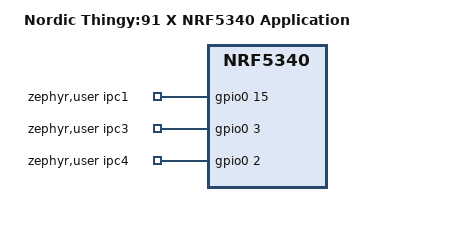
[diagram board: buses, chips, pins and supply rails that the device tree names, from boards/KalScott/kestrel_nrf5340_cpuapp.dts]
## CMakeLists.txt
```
cmake_minimum_required(VERSION 3.20.0)
find_package(Zephyr REQUIRED HINTS $ENV{ZEPHYR_BASE})


project(9151_testing)

target_sources(app PRIVATE src/main.c)
target_sources(app PRIVATE src/short_test.c)
#target_sources(app PRIVATE src/spi_thread.c)
# target_sources(app PRIVATE src/lte_helper.c)
# target_sources(app PRIVATE src/fota.c)
# target_sources(app PRIVATE src/sim_test.c)
# target_sources(app PRIVATE src/flash_test.c)
```

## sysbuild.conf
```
SB_CONFIG_BOOTLOADER_MCUBOOT=n

SB_CONFIG_KESTREL_NO_PREDEFINED_LAYOUT=y
```

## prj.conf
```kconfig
# CONFIG_BOOTLOADER_MCUBOOT=y


# # System
# CONFIG_REBOOT=y

# CONFIG_SERIAL=y
# CONFIG_GPIO=y
# CONFIG_I2C_GPIO=y

# # Peripherals
# CONFIG_DK_LIBRARY=y
# CONFIG_I2C=y


# # Newlib
# CONFIG_NEWLIB_LIBC=y
# CONFIG_FPU=y
# CONFIG_NEWLIB_LIBC_FLOAT_PRINTF=y

# # Networking
# CONFIG_NETWORKING=y
# CONFIG_NET_NATIVE=n
# CONFIG_NET_SOCKETS_OFFLOAD=y
# CONFIG_NET_SOCKETS=y
# CONFIG_POSIX_API=y

# # Memory
# CONFIG_THREAD_ANALYZER=y


# # Modem library
# CONFIG_NRF_MODEM_LIB=y
# CONFIG_MODEM_KEY_MGMT=y
# CONFIG_MODEM_INFO=y
# CONFIG_MODEM_INFO_ADD_NETWORK=y
# CONFIG_MODEM_INFO_ADD_SIM=y
# CONFIG_MODEM_INFO_ADD_SIM_IMSI=y
# CONFIG_MODEM_INFO_ADD_SIM_ICCID=y
# CONFIG_MODEM_INFO_ADD_DEVICE=y
# CONFIG_MODEM_INFO_ADD_DATE_TIME=n

# # LTE link control
# CONFIG_LTE_LINK_CONTROL=y
# CONFIG_LTE_NETWORK_MODE_LTE_M_NBIOT_GPS=y
# CONFIG_LTE_LC_EDRX_MODULE=n
# CONFIG_LTE_LC_PSM_MODULE=y
# CONFIG_LTE_LINK_CONTROL=y
# CONFIG_LTE_NETWORK_MODE_DEFAULT=y
# CONFIG_LTE_LC_MODEM_SLEEP_NOTIFICATIONS=n
# CONFIG_LTE_LC_TAU_PRE_WARNING_NOTIFICATIONS=n
# CONFIG_LTE_LC_TAU_PRE_WARNING_THRESHOLD_MS=10240
# CONFIG_LTE_LC_MODEM_SLEEP_NOTIFICATIONS_THRESHOLD_MS=10240
# CONFIG_LTE_NEIGHBOR_CELLS_MAX=17
# CONFIG_LTE_LC_CONN_EVAL_MODULE=y
# CONFIG_LTE_LC_EDRX_MODULE=y
# CONFIG_LTE_LC_NEIGHBOR_CELL_MEAS_MODULE=y
# CONFIG_LTE_LC_PERIODIC_SEARCH_MODULE=y
# CONFIG_LTE_LC_PSM_MODULE=y
# CONFIG_LTE_LC_RAI_MODULE=y
# CONFIG_LTE_LC_MODEM_SLEEP_MODULE=y
# CONFIG_LTE_LC_TAU_PRE_WARNING_MODULE=y

# # AT commands interface
# CONFIG_AT_HOST_LIBRARY=n
# CONFIG_UART_INTERRUPT_DRIVEN=y
# CONFIG_SHELL_WILDCARD=y
# # MQTT
# # Enable and configure the MQTT library
# CONFIG_MQTT_LIB=y
# CONFIG_MQTT_CLEAN_SESSION=y

# # Core settings API
# CONFIG_SETTINGS=y

# # Store in a flash circular buffer
# CONFIG_FCB=y
# CONFIG_SETTINGS_FCB=y
# CONFIG_SETTINGS=y

# # Flash and mapping
# CONFIG_FLASH=y
# CONFIG_FLASH_MAP=y


# # Shell & logging on your existing console
# CONFIG_DK_LIBRARY=y
# CONFIG_GPIO=y
# CONFIG_SENSOR=y
# CONFIG_NRF_MODEM_LIB=y
# CONFIG_NET_PKT_RX_COUNT=4
# CONFIG_NET_BUF_RX_COUNT=8
# CONFIG_NET_BUF_DATA_SIZE=256

# CONFIG_MAIN_STACK_SIZE=10000
# #CONFIG_LOG_BUFFER_SIZE=6000
# CONFIG_HEAP_MEM_POOL_SIZE=40000  
# CONFIG_SYSTEM_WORKQUEUE_STACK_SIZE=8096
# CONFIG_MBEDTLS_HEAP_SIZE=1500

# #TLS
# CONFIG_NETWORKING=y
# CONFIG_NET_NATIVE=n
# CONFIG_NET_SOCKETS_OFFLOAD=y
# CONFIG_NET_SOCKETS=y
# CONFIG_MQTT_LIB_TLS=y
# CONFIG_MBEDTLS=y
# CONFIG_MBEDTLS_ENABLE_HEAP=y
# CONFIG_MODEM_KEY_MGMT=y

# #crypto
# # Enable PSA Crypto core
# CONFIG_NRF_SECURITY=y
# CONFIG_BUILD_WITH_TFM=y
# CONFIG_MBEDTLS_PSA_CRYPTO_C=y
# CONFIG_PSA_WANT_GENERATE_RANDOM=y
# CONFIG_PSA_WANT_KEY_TYPE_AES=y
# CONFIG_PSA_WANT_ALG_GCM=y
# CONFIG_TFM_PROFILE_TYPE_NOT_SET=y
# CONFIG_PSA_CRYPTO_DRIVER_CC3XX=y
# CONFIG_PM_PARTITION_SIZE_TFM_SRAM=0x10000
# CONFIG_BOOTLOADER_MCUBOOT=y
# CONFIG_MBEDTLS_PSA_CRYPTO_STORAGE_C=y
# CONFIG_TFM_ITS_ENCRYPTED=y
# CONFIG_PSA_WANT_ALG_PBKDF2_HMAC=y
# CONFIG_PSA_WANT_ALG_SHA3_256=y
# CONFIG_PSA_WANT_KEY_TYPE_PASSWORD=y
# CONFIG_PSA_WANT_ALG_HMAC=y

# # Image manager
# CONFIG_IMG_MANAGER=y
# CONFIG_FLASH=y
# CONFIG_FLASH_MAP=y
# CONFIG_STREAM_FLASH=y
# CONFIG_IMG_ERASE_PROGRESSIVELY=y
# CONFIG_DOWNLOAD_CLIENT=y
# CONFIG_DOWNLOAD_CLIENT_STACK_SIZE=4096
# CONFIG_DOWNLOAD_CLIENT_BUF_SIZE=2048
# CONFIG_DOWNLOAD_CLIENT_MAX_HOSTNAME_SIZE=128
# CONFIG_DOWNLOAD_CLIENT_MAX_FILENAME_SIZE=128
# CONFIG_DOWNLOAD_CLIENT_LOG_LEVEL_DBG=y
# CONFIG_DFU_TARGET=y
# CONFIG_DFU_TARGET_MCUBOOT=y
# CONFIG_MODEM_KEY_MGMT=y

# CONFIG_UART_INTERRUPT_DRIVEN=y 

# CONFIG_NEWLIB_LIBC=y
# CONFIG_DATE_SHELL=n
# CONFIG_DEVICE_SHELL=y
# CONFIG_DEVMEM_SHELL=y
# CONFIG_KERNEL_SHELL=y
# CONFIG_I2C_SHELL=y
# CONFIG_SHELL_BACKEND_SERIAL_RX_RING_BUFFER_SIZE=528
# CONFIG_SPI=y
# CONFIG_SPI_SHELL=y
# CONFIG_SENSOR_SHELL=y
# CONFIG_AT_SHELL=y
# CONFIG_FLASH_SHELL=y
# CONFIG_GPIO_SHELL=y

# CONFIG_KESTREL_SPI_BUS_SHARE=y
# CONFIG_SPI_BUS_SHARE_SHELL=y
# CONFIG_SPI_BUS_SHARE_DETERM=y

# CONFIG_USE_SEGGER_RTT=y


# CONFIG_LOG=y
# CONFIG_LOG_PRINTK=y
# CONFIG_LOG_CMDS=y
# CONFIG_LOG_DEFAULT_LEVEL=3
# CONFIG_UART_CONSOLE=n 
# CONFIG_LOG_BACKEND_UART=n
# # Enable log colors
# CONFIG_LOG_BACKEND_SHOW_COLOR=y

# CONFIG_LOG_BUFFER_SIZE=4096        
# CONFIG_LOG_PROCESS_THREAD=y
# CONFIG_LOG_PROCESS_THREAD_STACK_SIZE=2048

# CONFIG_SHELL_STACK_SIZE=6096
# CONFIG_SHELL=y
# CONFIG_SHELL_CMDS=y
# CONFIG_SHELL_DEVICE_HELPERS=n
# CONFIG_SHELL=y
# CONFIG_SHELL_BACKEND_RTT=y
# CONFIG_SHELL_BACKEND_SERIAL=n
# CONFIG_SHELL_LOG_BACKEND=y   
# CONFIG_UART_INTERRUPT_DRIVEN=y 

# CONFIG_PM_DEVICE_SHELL=y
# CONFIG_PM_DEVICE=y
# CONFIG_PM_DEVICE_RUNTIME=y



CONFIG_LOG=y
CONFIG_LOG_PRINTK=y
CONFIG_LOG_CMDS=y
CONFIG_LOG_DEFAULT_LEVEL=3
CONFIG_LOG_BACKEND_SHOW_COLOR=y
CONFIG_SERIAL=y
CONFIG_GPIO=y
CONFIG_MAIN_STACK_SIZE=10048
CONFIG_LOG_BUFFER_SIZE=4096        
CONFIG_LOG_PROCESS_THREAD=y
CONFIG_LOG_PROCESS_THREAD_STACK_SIZE=2048
CONFIG_ISR_STACK_SIZE=1028
CONFIG_HEAP_MEM_POOL_SIZE=20000
CONFIG_SHELL_STACK_SIZE=8096
CONFIG_SHELL_PRINTF_BUFF_SIZE=2012
CONFIG_SHELL_CMD_BUFF_SIZE=2012
CONFIG_SHELL=y
CONFIG_SHELL_CMDS=y
CONFIG_SHELL_DEVICE_HELPERS=n
CONFIG_SHELL_ECHO_STATUS=n
CONFIG_SHELL=y
CONFIG_SHELL_BACKEND_SERIAL=y   # use the existing console UART/USB-CDC
CONFIG_SHELL_LOG_BACKEND=y      # pipe LOG_* into the shell prompt
CONFIG_UART_INTERRUPT_DRIVEN=y  # required by the shell’s serial backend
CONFIG_SHELL_PROMPT_UART=""
CONFIG_NEWLIB_LIBC=y
CONFIG_DATE_SHELL=n
CONFIG_SHELL_WILDCARD=y

CONFIG_KESTREL_SPI_BUS_SHARE=n
```

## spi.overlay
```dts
&pinctrl {
    spi2_default: spi2_default {
        group1 {
            psels = <NRF_PSEL(SPIM_SCK, 0, 27)>,
                    <NRF_PSEL(SPIM_MOSI, 0, 26)>,
                    <NRF_PSEL(SPIM_MISO, 0, 28)>;
        };
    };
};

&i2c2 {
    status = "disabled";
};

&uart2 {
    status = "disabled";
};

&spi2 {
    compatible = "nordic,nrf-spim";
    status = "okay";
    pinctrl-0 = <&spi2_default>;
    pinctrl-names = "default";
    cs-gpios = <&gpio0 16 GPIO_ACTIVE_LOW>;
    label = "SPI2_MCU_LINK";
};
```

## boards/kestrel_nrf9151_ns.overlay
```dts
&regulators {
    status = "disabled";
};

&power {
    status = "disabled";
};


&i2c2 {
	status = "disabled";
	clock-frequency = <I2C_BITRATE_STANDARD>;
    zephyr,concat-buf-size = <64>;
    zephyr,flash-buf-max-size = <64>;
};

&pmic_main {
	status = "disabled";

	npm1300_gpios {
		status = "disabled";
	};
	regulators {
		status = "disabled";
	};
	charger {
		status = "disabled";
	};
};

&flash_ext {
    status = "disabled";
};

&spi3 {
	status = "disabled";
};

&bmp {
	status = "disabled";
};

&mag0 {
	status = "disabled";
};

&imu {
	status = "disabled";
};

&uart1 {
	status = "disabled";
};
```

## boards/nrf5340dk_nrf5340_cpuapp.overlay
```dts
/ {
	chosen {
		zephyr,console = &uart2;
		zephyr,shell-uart = &uart2;
		zephyr,uart-mcumgr = &uart2;	
	};


	zephyr,user {
		ref-gpios = <&gpio0 2 GPIO_ACTIVE_HIGH>;
		output-high;
		//gpio-hog;

	};
};

&uart0 {
	status = "okay";
	current-speed = <115200>;

	pinctrl-0 = <&uart0_default>;
	pinctrl-1 = <&uart0_sleep>;
	pinctrl-names = "default", "sleep";
};


&uart2 {
    status = "okay";
    current-speed = <115200>;
    pinctrl-0 = <&uart2_default>;
	pinctrl-1 = <&uart2_sleep>;
    pinctrl-names = "default", "sleep";
	compatible = "nordic,nrf-uarte";
};


&pinctrl {
	uart0_default: uart0_default {
		group1 {
			psels = <NRF_PSEL(UART_RX, 0, 25)>, <NRF_PSEL(UART_TX, 0, 26)>;
			 
		};

		group2 {
			psels = <NRF_PSEL(UART_RX, 0, 25)>;
			bias-pull-up;  
		};
	};

	uart0_sleep: uart0_sleep {
		group1 {
			psels = <NRF_PSEL(UART_TX, 0, 26)>,
			        <NRF_PSEL(UART_RX, 0, 25)>;
			low-power-enable;
		};
	};

	uart2_default: uart2_default {
		group1 {
			psels = <NRF_PSEL(UART_TX, 0, 21)>, <NRF_PSEL(UART_RX, 0, 22)>;                     
		};

        group2 {
            psels = <NRF_PSEL(UART_RX, 0, 22)>; 
			bias-pull-up;   
        };
	};
	uart2_sleep: uart2_sleep {
		group1 {
			psels = <NRF_PSEL(UART_TX, 0, 21)>,  
			        <NRF_PSEL(UART_RX, 0, 22)>; 
			low-power-enable;
		};
	};

};
```

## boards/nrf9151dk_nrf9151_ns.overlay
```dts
/ {
	chosen {
		zephyr,console = &uart1;
		zephyr,shell-uart = &uart1;
		zephyr,uart-mcumgr = &uart1;	
	};
};


&gd25wb256 {
	status = "disabled";
};

&uart0 {
	status = "okay";
	current-speed = <115200>;

	pinctrl-0 = <&uart0_default>;
	pinctrl-1 = <&uart0_sleep>;
	pinctrl-names = "default", "sleep";
};

&spi3 {
	status = "disabled";
};
&uart1 {
	status = "okay";
	current-speed = <115200>;
	pinctrl-0 = <&uart1_default>;
	pinctrl-1 = <&uart1_sleep>;
	pinctrl-names = "default", "sleep";
	compatible = "nordic,nrf-uarte";
};


&pinctrl {
	uart0_default: uart0_default {
		group1 {
			psels = <NRF_PSEL(UART_RX, 0, 25)>, <NRF_PSEL(UART_TX, 0, 24)>;
			 
		};

		group2 {
			psels = <NRF_PSEL(UART_RX, 0, 25)>;
			bias-pull-up;  
		};
	};

	uart0_sleep: uart0_sleep {
		group1 {
			psels = <NRF_PSEL(UART_TX, 0, 24)>,
			        <NRF_PSEL(UART_RX, 0, 25)>;
			low-power-enable;
		};
	};


	uart1_default: uart1_default {
		group1 {
			psels = <NRF_PSEL(UART_RX, 0, 23)>, <NRF_PSEL(UART_TX, 0, 22)>; 
			                  
		};

		group2 {
			psels = <NRF_PSEL(UART_RX, 0, 23)>;   
			bias-pull-up;   
		};
	};
	uart1_sleep: uart1_sleep {
		group1 {
			psels = <NRF_PSEL(UART_TX, 0, 22)>,  
			        <NRF_PSEL(UART_RX, 0, 23)>; 
			low-power-enable;
		};
	};
};
```

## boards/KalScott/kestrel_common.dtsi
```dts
/*
 * Copyright (c) 2024 Nordic Semiconductor
 * SPDX-License-Identifier: LicenseRef-Nordic-5-Clause
 */

#include <dt-bindings/regulator/npm1300.h>
#include <zephyr/dt-bindings/sensor/icm42688.h>



&i2c2 {
	compatible = "nordic,nrf-twim";
	status = "disabled";
	clock-frequency = <I2C_BITRATE_STANDARD>;
	
	pinctrl-0 = <&i2c2_default>;
	pinctrl-1 = <&i2c2_sleep>;
	pinctrl-names = "default", "sleep";

	bmp: bmp390@76 {
        compatible = "bosch,bmp390";
        reg = <0x76>;
        status = "disabled";
        int-gpios = <&gpio0 5 GPIO_ACTIVE_HIGH>;
        odr = "50";      
        osr-press = <4>;     
        osr-temp  = <1>;    
        iir-filter = <7>;   
    };

	mag0: iis2mdc@1e {
        compatible = "st,iis2mdc";
        reg = <0x1e>;
        status = "disabled";
        drdy-gpios = <&gpio0 4 GPIO_ACTIVE_HIGH>;

    };

	pmic_main: npm1300@6b {
		compatible = "nordic,npm1300";
		status = "disabled";
		pmic-int-pin = <14>;
		reg = <0x6b>;

		
		gpios_pmic: npm1300_gpios {
			compatible = "nordic,npm1300-gpio";
			status = "disabled";
			gpio-controller;
			#gpio-cells = <2>;
			ngpios = <5>;
			npm13_button: GPIO0 {
				gpio-hog;
				gpios = <0 GPIO_ACTIVE_HIGH>;
			};
		
			power_switch: GPIO2 {
				gpio-hog;
				gpios = <2 GPIO_ACTIVE_HIGH>;
			};
			
		};

		regulators {
			compatible = "nordic,npm1300-regulator";
			status = "disabled";
			reg_3v3: BUCK2 {
				regulator-min-microvolt = <3300000>;
				regulator-max-microvolt = <3300000>;
				enable-gpios = <&gpios_pmic 2 GPIO_ACTIVE_HIGH>;
			};
			ldsw_nPM6001_en: LDO1 {
				regulator-initial-mode = <NPM1300_LDSW_MODE_LDSW>;
				regulator-allowed-modes = <NPM1300_LDSW_MODE_LDSW>;
				regulator-boot-on;
			};
			ldsw_sensors: LDO2 {
				regulator-initial-mode = <NPM1300_LDSW_MODE_LDSW>;
				regulator-allowed-modes = <NPM1300_LDSW_MODE_LDSW>;
				regulator-boot-on;
			};
		};

		npm1300_charger: charger {
			compatible = "nordic,npm1300-charger";
			status = "disabled";
			vbus-limit-microamp = <500000>;
			term-microvolt = <4200000>;
			current-microamp = <675000>; 
			dischg-limit-microamp = <1000000>; 
			thermistor-cold-millidegrees = <0>;
			thermistor-cool-millidegrees = <0>;
			thermistor-warm-millidegrees = <45000>;
			thermistor-hot-millidegrees = <45000>;
			thermistor-ohms = <10000>;
			thermistor-beta = <3435>;
			charging-enable;
		};

		
	};

	


};
```

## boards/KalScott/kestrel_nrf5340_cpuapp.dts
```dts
/*
 * Copyright (c) 2024 Nordic Semiconductor
 * SPDX-License-Identifier: LicenseRef-Nordic-5-Clause
 */

/dts-v1/;
#include <nordic/nrf5340_cpuapp_qkaa.dtsi>
#include "kestrel_nrf5340_cpuapp_common.dts"

/ {
	model = "Nordic Thingy:91 X NRF5340 Application";
	compatible = "nordic,kestrel-nrf5340-cpuapp";
	
	chosen {
		zephyr,sram = &sram0_image;
		zephyr,flash = &flash0;
		zephyr,code-partition = &slot0_partition;
		zephyr,sram-secure-partition = &sram0_s;
		zephyr,sram-non-secure-partition = &sram0_ns;
		zephyr,bt-hci = &bt_hci_ipc0;
	};


	zephyr,user {
		ipc1-gpios = <&gpio0 15 0>;
		ipc3-gpios = <&gpio0 3 0>;
		ipc4-gpios = <&gpio0 2 0>;
	};


};
```

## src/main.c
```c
#include <zephyr/kernel.h>
#include <zephyr/logging/log.h>
#include "lte_helper.h"

LOG_MODULE_REGISTER(main);

int main(void)
{
        printk("nRF9151 test running\n");
        //modem_configure();
        while (1) {
        // LOG_INF("6");
        // //printk("running\n");
        // k_msleep(1000);
        // LOG_INF("7");
        // k_msleep(1000);
        // LOG_INF("8");
        // k_msleep(1000);
        // LOG_INF("9");
        // k_msleep(1000);
        // LOG_INF("10");
        k_msleep(1000);
        }
        return 0;
}
```

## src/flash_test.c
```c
/*
 * Flash Test Module for mcuboot_secondary partition
 *
 * This module provides functionality to test writing to and reading from
 * the mcuboot_secondary partition in external flash.
 */

#include "flash_test.h"
#include <zephyr/logging/log.h>
#include <zephyr/shell/shell.h>
#include <zephyr/storage/flash_map.h>
#include <string.h>

LOG_MODULE_REGISTER(flash_test, LOG_LEVEL_INF);

#define TEST_PATTERN_SIZE 256
#define TEST_WRITE_SIZE 4096  /* Write 4KB chunks */
#define TEST_TOTAL_SIZE (16 * 1024)  /* Test with 16KB total */

/**
 * @brief Run comprehensive flash write/read test
 */
int flash_test_run(void)
{
    const struct flash_area *fa;
    int err;
    uint8_t write_buf[TEST_PATTERN_SIZE];
    uint8_t read_buf[TEST_PATTERN_SIZE];

    LOG_INF("=== Starting Flash Test on mcuboot_secondary ===");

    /* Open the mcuboot_secondary partition */
    err = flash_area_open(FIXED_PARTITION_ID(mcuboot_secondary), &fa);
    if (err) {
        LOG_ERR("Failed to open mcuboot_secondary partition: %d", err);
        return err;
    }

    LOG_INF("Partition opened successfully:");
    LOG_INF("  Device: %s", fa->fa_dev->name);
    LOG_INF("  Offset: 0x%lx", (unsigned long)fa->fa_off);
    LOG_INF("  Size: 0x%zx (%zu bytes)", fa->fa_size, fa->fa_size);

    /* Erase the test region */
    LOG_INF("Erasing test region (first %d bytes)...", TEST_TOTAL_SIZE);
    err = flash_area_erase(fa, 0, TEST_TOTAL_SIZE);
    if (err) {
        LOG_ERR("Flash erase failed: %d", err);
        flash_area_close(fa);
        return err;
    }
    LOG_INF("Erase complete");

    /* Verify erased state (should be 0xFF) */
    LOG_INF("Verifying erased state...");
    err = flash_area_read(fa, 0, read_buf, TEST_PATTERN_SIZE);
    if (err) {
        LOG_ERR("Flash read after erase failed: %d", err);
        flash_area_close(fa);
        return err;
    }

    bool erase_ok = true;
    for (int i = 0; i < TEST_PATTERN_SIZE; i++) {
        if (read_buf[i] != 0xFF) {
            LOG_WRN("Byte %d not erased: 0x%02x (expected 0xFF)", i, read_buf[i]);
            erase_ok = false;
            if (i > 10) break;  /* Don't spam too many messages */
        }
    }

    if (erase_ok) {
        LOG_INF("Erase verification PASSED - all bytes are 0xFF");
    } else {
        LOG_ERR("Erase verification FAILED - some bytes not 0xFF");
    }

    /* Create test pattern - repeating sequence with offset markers */
    LOG_INF("Creating test pattern...");
    for (int i = 0; i < TEST_PATTERN_SIZE; i++) {
        write_buf[i] = (uint8_t)(i & 0xFF);
    }

    /* Write pattern to multiple locations */
    LOG_INF("Writing test pattern to flash...");
    for (int offset = 0; offset < TEST_TOTAL_SIZE; offset += TEST_PATTERN_SIZE) {
        /* Modify pattern slightly for each write to verify location */
        write_buf[0] = (uint8_t)(offset >> 8);
        write_buf[1] = (uint8_t)(offset & 0xFF);

        err = flash_area_write(fa, offset, write_buf, TEST_PATTERN_SIZE);
        if (err) {
            LOG_ERR("Flash write failed at offset 0x%x: %d", offset, err);
            flash_area_close(fa);
            return err;
        }

        if (offset % 1024 == 0) {
            LOG_INF("  Written %d / %d bytes", offset + TEST_PATTERN_SIZE, TEST_TOTAL_SIZE);
        }
    }
    LOG_INF("Write complete");

    /* Read back and verify */
    LOG_INF("Reading back and verifying data...");
    int errors = 0;
    for (int offset = 0; offset < TEST_TOTAL_SIZE; offset += TEST_PATTERN_SIZE) {
        err = flash_area_read(fa, offset, read_buf, TEST_PATTERN_SIZE);
        if (err) {
            LOG_ERR("Flash read failed at offset 0x%x: %d", offset, err);
            flash_area_close(fa);
            return err;
        }

        /* Recreate expected pattern for this offset */
        write_buf[0] = (uint8_t)(offset >> 8);
        write_buf[1] = (uint8_t)(offset & 0xFF);
        for (int i = 2; i < TEST_PATTERN_SIZE; i++) {
            write_buf[i] = (uint8_t)(i & 0xFF);
        }

        /* Compare */
        if (memcmp(read_buf, write_buf, TEST_PATTERN_SIZE) != 0) {
            LOG_ERR("Data mismatch at offset 0x%x", offset);
            for (int i = 0; i < TEST_PATTERN_SIZE; i++) {
                if (read_buf[i] != write_buf[i]) {
                    LOG_ERR("  Byte %d: expected 0x%02x, got 0x%02x",
                           i, write_buf[i], read_buf[i]);
                    errors++;
                    if (errors > 10) break;  /* Limit error output */
                }
            }
            if (errors > 10) break;
        }
    }

    if (errors == 0) {
        LOG_INF("Verification PASSED - all data matches!");
    } else {
        LOG_ERR("Verification FAILED - %d errors found", errors);
    }

    /* Display first 32 bytes for inspection */
    err = flash_area_read(fa, 0, read_buf, 32);
    if (err == 0) {
        LOG_INF("First 32 bytes of flash:");
        LOG_HEXDUMP_INF(read_buf, 32, "Flash content:");
    }

    /* Test MCUboot magic pattern write/read */
    LOG_INF("Testing MCUboot magic pattern...");
    uint32_t mcuboot_magic = 0x96f3b83d;
    uint32_t read_magic;

    /* Erase first page again for clean test */
    err = flash_area_erase(fa, 0, 4096);
    if (err) {
        LOG_ERR("Failed to erase for MCUboot test: %d", err);
    } else {
        err = flash_area_write(fa, 0, &mcuboot_magic, sizeof(mcuboot_magic));
        if (err) {
            LOG_ERR("Failed to write MCUboot magic: %d", err);
        } else {
            err = flash_area_read(fa, 0, &read_magic, sizeof(read_magic));
            if (err) {
                LOG_ERR("Failed to read MCUboot magic: %d", err);
            } else {
                if (read_magic == mcuboot_magic) {
                    LOG_INF("MCUboot magic test PASSED (0x%08x)", read_magic);
                } else {
                    LOG_ERR("MCUboot magic test FAILED: wrote 0x%08x, read 0x%08x",
                           mcuboot_magic, read_magic);
                }
            }
        }
    }

    flash_area_close(fa);

    LOG_INF("=== Flash Test Complete ===");
    if (errors == 0) {
        LOG_INF("Result: SUCCESS - Flash read/write working correctly");
        return 0;
    } else {
        LOG_ERR("Result: FAILURE - Flash read/write has issues");
        return -EIO;
    }
}

/**
 * @brief Shell command to run flash test
 */
static int cmd_flash_test(const struct shell *sh, size_t argc, char **argv)
{
    ARG_UNUSED(argc);
    ARG_UNUSED(argv);

    shell_print(sh, "Starting flash test...");

    int err = flash_test_run();
    if (err) {
        shell_error(sh, "Flash test failed with error: %d", err);
        return err;
    }

    shell_print(sh, "Flash test completed successfully!");
    return 0;
}

/**
 * @brief Shell command to dump flash content
 */
static int cmd_flash_dump(const struct shell *sh, size_t argc, char **argv)
{
    if (argc < 2) {
        shell_error(sh, "Usage: flashtest dump <bytes>");
        shell_print(sh, "Example: flashtest dump 256");
        return -EINVAL;
    }

    int bytes = atoi(argv[1]);
    if (bytes <= 0 || bytes > 4096) {
        shell_error(sh, "Bytes must be between 1 and 4096");
        return -EINVAL;
    }

    const struct flash_area *fa;
    int err = flash_area_open(FIXED_PARTITION_ID(mcuboot_secondary), &fa);
    if (err) {
        shell_error(sh, "Failed to open partition: %d", err);
        return err;
    }

    uint8_t *buf = k_malloc(bytes);
    if (!buf) {
        shell_error(sh, "Failed to allocate buffer");
        flash_area_close(fa);
        return -ENOMEM;
    }

    err = flash_area_read(fa, 0, buf, bytes);
    if (err) {
        shell_error(sh, "Failed to read flash: %d", err);
        k_free(buf);
        flash_area_close(fa);
        return err;
    }

    shell_print(sh, "First %d bytes of mcuboot_secondary:", bytes);
    shell_hexdump(sh, buf, bytes);

    k_free(buf);
    flash_area_close(fa);

    return 0;
}

/**
 * @brief Shell command to erase flash partition
 */
static int cmd_flash_erase(const struct shell *sh, size_t argc, char **argv)
{
    shell_print(sh, "Erasing mcuboot_secondary partition...");

    const struct flash_area *fa;
    int err = flash_area_open(FIXED_PARTITION_ID(mcuboot_secondary), &fa);
    if (err) {
        shell_error(sh, "Failed to open partition: %d", err);
        return err;
    }

    shell_print(sh, "Erasing %zu bytes...", fa->fa_size);
    err = flash_area_erase(fa, 0, fa->fa_size);
    if (err) {
        shell_error(sh, "Erase failed: %d", err);
        flash_area_close(fa);
        return err;
    }

    flash_area_close(fa);
    shell_print(sh, "Erase complete");

    return 0;
}

/* Shell command tree */
SHELL_STATIC_SUBCMD_SET_CREATE(flashtest_cmds,
    SHELL_CMD_ARG(run, NULL, "Run flash write/read test", cmd_flash_test, 1, 0),
    SHELL_CMD_ARG(dump, NULL, "Dump flash content\nUsage: flashtest dump <bytes>",
                  cmd_flash_dump, 2, 0),
    SHELL_CMD_ARG(erase, NULL, "Erase mcuboot_secondary partition",
                  cmd_flash_erase, 1, 0),
    SHELL_SUBCMD_SET_END
);

SHELL_CMD_REGISTER(flashtest, &flashtest_cmds, "Flash test commands", NULL);
```

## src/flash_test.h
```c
#ifndef FLASH_TEST_H
#define FLASH_TEST_H

#include <zephyr/kernel.h>

/**
 * @brief Run flash write/read test on mcuboot_secondary partition
 *
 * This test writes a known pattern to the mcuboot_secondary partition
 * in external flash and reads it back to verify the write operation.
 *
 * @return 0 on success, negative errno on failure
 */
int flash_test_run(void);

#endif /* FLASH_TEST_H */
```

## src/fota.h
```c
#ifndef FOTA_H
#define FOTA_H

#include <stdio.h>
#include <zephyr/kernel.h>
#include <zephyr/dfu/mcuboot.h>
#include <zephyr/sys/reboot.h>
#include <zephyr/storage/flash_map.h>

#ifndef THIS_IS_5340

#include <net/download_client.h>
#include <zephyr/storage/stream_flash.h>
#include <zephyr/net/tls_credentials.h>

enum download_state {
    DOWNLOAD_IDLE,
    DOWNLOAD_IN_PROGRESS,
    DOWNLOAD_COMPLETE,
    DOWNLOAD_ERROR
};


typedef void (*download_callback_t)(enum download_state state, int error);

struct ota_config_t {
    const char *server_addr;
    const char *cert_tag;
};

extern struct ota_config_t ota_config;

void ota_init(download_callback_t callback);
void ota_set_server(const char *server_addr, const char *cert_tag);
int ota_download_9151(const char *filename);
int ota_download_5340(const char *filename);
int ota_cancel(void);

#endif /* !THIS_IS_5340 */

int ota_apply(void);

#endif /* FOTA_H */
```

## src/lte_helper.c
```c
#include "lte_helper.h"
#include "fota.h"
#include <modem/pdn.h>
LOG_MODULE_REGISTER(lte, LOG_LEVEL_INF);


K_MUTEX_DEFINE(json_mutex);
K_SEM_DEFINE(lte_connected, 0, 1);


/**
 * @brief LTE event handler
 */

 
void lte_handler(const struct lte_lc_evt *const evt)
{
    switch (evt->type) {
    case LTE_LC_EVT_NW_REG_STATUS:
        if ((evt->nw_reg_status == LTE_LC_NW_REG_REGISTERED_HOME) ||
            (evt->nw_reg_status == LTE_LC_NW_REG_REGISTERED_ROAMING)) {
            LOG_INF("Network registration status: %s",
                    evt->nw_reg_status == LTE_LC_NW_REG_REGISTERED_HOME ?
                    "Connected - home network" : "Connected - roaming");
            k_sem_give(&lte_connected);
        }
        break;

    case LTE_LC_EVT_RRC_UPDATE:
        LOG_INF("RRC mode: %s", evt->rrc_mode == LTE_LC_RRC_MODE_CONNECTED ? "Connected" : "Idle");
        break;

    case LTE_LC_EVT_CELL_UPDATE:
        LOG_INF("LTE cell changed: Cell ID: %d, Tracking area: %d",
                evt->cell.id, evt->cell.tac);
        break;

    case LTE_LC_EVT_LTE_MODE_UPDATE:
        switch (evt->lte_mode) {
        case LTE_LC_LTE_MODE_LTEM:
            LOG_INF("LTE mode updated: LTE-M");
            break;
        case LTE_LC_LTE_MODE_NBIOT:
            LOG_INF("LTE mode updated: NB-IoT");
            break;
        case LTE_LC_LTE_MODE_NONE:
            LOG_INF("LTE mode updated: None (off)");
            break;
        default:
            LOG_INF("LTE mode updated: Unknown");
            break;
        }
        break;

    default:
        break;
    }
}



/**
 * @brief Configure and connect to LTE network
 */
int modem_configure(void)
{
    int err;

    LOG_INF("Starting modem configuration...");

    err = nrf_modem_lib_init();
    if (err) {
        LOG_ERR("Failed to initialize the modem library, error: %d", err);
        return err;
    }


    ota_init(NULL);
   
    //provision_all_tls_credentials();

    lte_lc_system_mode_set(LTE_LC_SYSTEM_MODE_LTEM, LTE_LC_SYSTEM_MODE_PREFER_AUTO);
   
    lte_lc_psm_req(false);
    
    lte_lc_func_mode_set(LTE_LC_FUNC_MODE_NORMAL);
  
    err = lte_lc_connect_async(lte_handler);
    if (err) {
        LOG_ERR("Error in lte_lc_connect_async, error: %d", err);
        return err;
    }
   
    err = k_sem_take(&lte_connected, K_FOREVER); // 30 second timeout
    if (err) {
        LOG_ERR("LTE connection timeout after 30 seconds");
        return err;
    }
    LOG_INF("Connected to LTE network successfully");

    return 0;
}
```

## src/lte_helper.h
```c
#ifndef LTE_HELPER_H
#define LTE_HELPER_H
#include <stdio.h>
#include <string.h>
#include <stdlib.h> 
#include <zephyr/device.h>     
#include <zephyr/drivers/gpio.h>
#include <zephyr/devicetree.h>   
#include <zephyr/kernel.h>
#include <zephyr/sys/reboot.h>
#include <zephyr/net/socket.h>
#include <modem/nrf_modem_lib.h>
#include <modem/lte_lc.h>
#include <dk_buttons_and_leds.h>
#include <nrf_modem_gnss.h>
#include <nrf_modem_at.h>
#include <zephyr/net/mqtt.h>
#include <modem/modem_info.h>
/*Operator Conversion Data*/

extern struct k_mutex json_mutex;

typedef struct {
    const char *mccmnc;
    const char *name;
} OperatorEntry;

static const OperatorEntry operator_table[] = {
    {"302720", "Canada - Rogers"},
    {"302610", "Canada - Bell"},
    {"302220", "Canada - Telus"},
    {"310260", "United States - T-Mobile"},
    {"310410", "United States - AT&T"},
    {"311480", "United States - Verizon"},
    {"312530", "United States - Dish"},
    {"313100", "United States - FirstNet"},
    {"334020", "Mexico - Telcel"},
    {"334030", "Mexico - AT&T Mexico"},
    {"334050", "Mexico - Movistar"},
};


extern struct k_sem lte_connected;
extern bool update_lte_info;
extern bool publish_lte_info;


int setup_default_apn();
void lte_handler(const struct lte_lc_evt *const evt);
void pack_lte_data(void);
const char *lookup_operator_name(const char *mccmnc);
int modem_configure(void);
#endif
```

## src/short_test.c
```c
#include <zephyr/kernel.h>
#include <zephyr/sys/printk.h>
#include <zephyr/shell/shell.h>
#include <string.h>
#include <stdio.h>
#include <stdlib.h>

#include "short_test.h"


#define SHORT_TEST_USE_PULLDOWN

static const struct shell *active_shell;

#if defined(CONFIG_SOC_NRF5340_CPUAPP)
    #define MCU_IS_NRF5340 1
    #define MCU_NAME "nRF5340"
    #define GPIO0_BASE 0x50842500UL
    #define GPIO1_BASE 0x50842800UL
#elif defined(CONFIG_SOC_SERIES_NRF91X) || defined(CONFIG_SOC_NRF9151_LACA)
    #define MCU_IS_NRF9151 1
    #define MCU_NAME "nRF9151"
    #if defined(CONFIG_TRUSTED_EXECUTION_NONSECURE)
        #define GPIO0_BASE 0x40842500UL
    #else
        #define GPIO0_BASE 0x50842500UL
    #endif
#else
    #error "Unsupported MCU - must be nRF5340 or nRF9151"
#endif

#if defined(MCU_IS_NRF5340)
#include "uart_usb_bridge.h"
#endif

#define GPIO_OUT_OFFSET      0x004
#define GPIO_OUTSET_OFFSET   0x008
#define GPIO_OUTCLR_OFFSET   0x00C
#define GPIO_IN_OFFSET       0x010
#define GPIO_DIR_OFFSET      0x014
#define GPIO_DIRSET_OFFSET   0x018
#define GPIO_DIRCLR_OFFSET   0x01C
#define GPIO_PIN_CNF_OFFSET  0x200

#define PIN_CNF_DIR_INPUT    (0UL << 0)
#define PIN_CNF_DIR_OUTPUT   (1UL << 0)
#define PIN_CNF_INPUT_CONN   (0UL << 1)
#define PIN_CNF_INPUT_DISC   (1UL << 1)
#define PIN_CNF_PULL_NONE    (0UL << 2)
#define PIN_CNF_PULL_DOWN    (1UL << 2)
#define PIN_CNF_PULL_UP      (3UL << 2)

#define REG32(addr) (*(volatile uint32_t *)(addr))

#define GPIO0_OUT      REG32(GPIO0_BASE + GPIO_OUT_OFFSET)
#define GPIO0_OUTSET   REG32(GPIO0_BASE + GPIO_OUTSET_OFFSET)
#define GPIO0_OUTCLR   REG32(GPIO0_BASE + GPIO_OUTCLR_OFFSET)
#define GPIO0_IN       REG32(GPIO0_BASE + GPIO_IN_OFFSET)
#define GPIO0_DIR      REG32(GPIO0_BASE + GPIO_DIR_OFFSET)
#define GPIO0_DIRSET   REG32(GPIO0_BASE + GPIO_DIRSET_OFFSET)
#define GPIO0_DIRCLR   REG32(GPIO0_BASE + GPIO_DIRCLR_OFFSET)
#define GPIO0_PIN_CNF(n) REG32(GPIO0_BASE + GPIO_PIN_CNF_OFFSET + ((n) * 4))

#if defined(MCU_IS_NRF5340)
#define GPIO1_OUT      REG32(GPIO1_BASE + GPIO_OUT_OFFSET)
#define GPIO1_OUTSET   REG32(GPIO1_BASE + GPIO_OUTSET_OFFSET)
#define GPIO1_OUTCLR   REG32(GPIO1_BASE + GPIO_OUTCLR_OFFSET)
#define GPIO1_IN       REG32(GPIO1_BASE + GPIO_IN_OFFSET)
#define GPIO1_DIR      REG32(GPIO1_BASE + GPIO_DIR_OFFSET)
#define GPIO1_DIRSET   REG32(GPIO1_BASE + GPIO_DIRSET_OFFSET)
#define GPIO1_DIRCLR   REG32(GPIO1_BASE + GPIO_DIRCLR_OFFSET)
#define GPIO1_PIN_CNF(n) REG32(GPIO1_BASE + GPIO_PIN_CNF_OFFSET + ((n) * 4))
#endif

#define GPIO0_PIN_COUNT  32

#if defined(MCU_IS_NRF5340)
    #define GPIO1_PIN_COUNT  16
#else
    #define GPIO1_PIN_COUNT  0
#endif

static void cfg_pin_input_nopull(int port, int pin)
{
    uint32_t cnf = PIN_CNF_DIR_INPUT | PIN_CNF_INPUT_CONN | PIN_CNF_PULL_NONE;
    if (port == 0) {
        GPIO0_PIN_CNF(pin) = cnf;
    }
#if defined(MCU_IS_NRF5340)
    else {
        GPIO1_PIN_CNF(pin) = cnf;
    }
#endif
}

static void cfg_pin_input_pulldown(int port, int pin)
{
    uint32_t cnf = PIN_CNF_DIR_INPUT | PIN_CNF_INPUT_CONN | PIN_CNF_PULL_DOWN;
    if (port == 0) {
        GPIO0_PIN_CNF(pin) = cnf;
    }
#if defined(MCU_IS_NRF5340)
    else {
        GPIO1_PIN_CNF(pin) = cnf;
    }
#endif
}

static void cfg_pin_input(int port, int pin)
{
#if defined(SHORT_TEST_USE_PULLDOWN)
    cfg_pin_input_pulldown(port, pin);
#else
    cfg_pin_input_nopull(port, pin);
#endif
}

static void cfg_pin_output(int port, int pin)
{
    uint32_t cnf = PIN_CNF_DIR_OUTPUT | PIN_CNF_INPUT_CONN | PIN_CNF_PULL_NONE;
    if (port == 0) {
        GPIO0_PIN_CNF(pin) = cnf;
    }
#if defined(MCU_IS_NRF5340)
    else {
        GPIO1_PIN_CNF(pin) = cnf;
    }
#endif
}

static void set_pin_high(int port, int pin)
{
    if (port == 0) {
        GPIO0_OUTSET = (1UL << pin);
    }
#if defined(MCU_IS_NRF5340)
    else {
        GPIO1_OUTSET = (1UL << pin);
    }
#endif
}

static void set_pin_low(int port, int pin)
{
    if (port == 0) {
        GPIO0_OUTCLR = (1UL << pin);
    }
#if defined(MCU_IS_NRF5340)
    else {
        GPIO1_OUTCLR = (1UL << pin);
    }
#endif
}

static uint32_t read_port(int port)
{
    if (port == 0) {
        return GPIO0_IN;
    }
#if defined(MCU_IS_NRF5340)
    else {
        return GPIO1_IN & 0xFFFF;
    }
#endif
    return 0;
}

static uint32_t read_gpio_port_ex(int port, uint8_t pin_count, int skip_pin)
{
    for (uint8_t pin = 0; pin < pin_count; pin++) {
        if (skip_pin >= 0 && pin == skip_pin) {
            continue;
        }
        cfg_pin_input(port, pin);
    }

    k_busy_wait(10);

    uint32_t states = read_port(port);

    if (pin_count < 32) {
        states &= ((1UL << pin_count) - 1);
    }

    return states;
}

static uint32_t read_gpio_port(int port, uint8_t pin_count)
{
    return read_gpio_port_ex(port, pin_count, -1);
}

/* Baselines for no-pull mode */
#if defined(MCU_IS_NRF9151)
#define BASELINE_NOPULL_P0 0xCC303FC0UL
#else
#define BASELINE_NOPULL_P0 0xE1859700UL
#define BASELINE_NOPULL_P1 0x0000FFF7UL
#endif

/* Baselines for pull-down mode */
#if defined(MCU_IS_NRF9151)
#define BASELINE_PULLDOWN_P0 0x003038C0UL
#else
#define BASELINE_PULLDOWN_P0 0x00000200UL
#define BASELINE_PULLDOWN_P1 0x00000004UL
#endif

/* Select active baselines based on mode */
#if defined(SHORT_TEST_USE_PULLDOWN)
#define BASELINE_P0 BASELINE_PULLDOWN_P0
#if defined(MCU_IS_NRF5340)
#define BASELINE_P1 BASELINE_PULLDOWN_P1
#endif
#else
#define BASELINE_P0 BASELINE_NOPULL_P0
#if defined(MCU_IS_NRF5340)
#define BASELINE_P1 BASELINE_NOPULL_P1
#endif
#endif

static void format_pin_states(uint32_t states, uint8_t pin_count, char *buf, size_t buf_size)
{
    int pos = 0;

    for (int i = pin_count - 1; i >= 0 && pos < buf_size - 1; i--) {
        buf[pos++] = (states & (1UL << i)) ? '1' : '0';
        if (i > 0 && (i % 8) == 0 && pos < buf_size - 1) {
            buf[pos++] = ' ';
        }
    }
    buf[pos] = '\0';
}

static void format_drive_states(uint32_t states, uint8_t pin_count, uint32_t baseline,
                                 int driven_pin, char *buf, size_t buf_size)
{
    int pos = 0;

    for (int i = pin_count - 1; i >= 0 && pos < buf_size - 1; i--) {
        int is_high = (states & (1UL << i)) != 0;
        int is_baseline = (baseline & (1UL << i)) != 0;
        int is_driven = (i == driven_pin);

        if (is_driven) {
            buf[pos++] = 'D';
        } else if (is_baseline && is_high) {
            buf[pos++] = 'X';
        } else if (is_baseline && !is_high) {
            buf[pos++] = '?';
        } else if (is_high) {
            buf[pos++] = '1';
        } else {
            buf[pos++] = '0';
        }

        if (i > 0 && (i % 8) == 0 && pos < buf_size - 1) {
            buf[pos++] = ' ';
        }
    }
    buf[pos] = '\0';
}

int short_test_read_pins(const char *context)
{
    uint32_t gpio0_states;
    char pin_str[64];
    const char *ctx = (context && context[0]) ? context : "shell";

    for (int pin = 0; pin < GPIO0_PIN_COUNT; pin++) {
        cfg_pin_input(0, pin);
    }

#if defined(MCU_IS_NRF5340)
    for (int pin = 0; pin < GPIO1_PIN_COUNT; pin++) {
        cfg_pin_input(1, pin);
    }
#endif

    k_busy_wait(10);

    gpio0_states = GPIO0_IN;
    format_drive_states(gpio0_states, GPIO0_PIN_COUNT, BASELINE_P0, -1, pin_str, sizeof(pin_str));
    printk("[READOUT] %s %s P0: %s\n", ctx, MCU_NAME, pin_str);

#if defined(MCU_IS_NRF5340)
    uint32_t gpio1_states;
    gpio1_states = GPIO1_IN & 0xFFFF;
    format_drive_states(gpio1_states, GPIO1_PIN_COUNT, BASELINE_P1, -1, pin_str, sizeof(pin_str));
    printk("[READOUT] %s %s P1: %s\n", ctx, MCU_NAME, pin_str);
#endif

    return 0;
}

#if defined(MCU_IS_NRF5340)
int short_test_request_remote_pins(const char *context)
{
    char cmd[64];
    const char *ctx = (context && context[0]) ? context : "shell";

    snprintf(cmd, sizeof(cmd), "short_test read_pins %s\r\n", ctx);

    int ret = uart_bridge_send(cmd, strlen(cmd));
    if (ret < 0) {
        printk("[ERROR] Failed to send command to nRF9151: %d\n", ret);
        return ret;
    }

    return 0;
}

int short_test_read_all_pins(void)
{
    int ret;

    ret = short_test_read_pins("shell");
    if (ret != 0) {
        return ret;
    }

    ret = short_test_request_remote_pins("shell");
    if (ret != 0) {
        return ret;
    }

    return 0;
}

int short_test_request_remote_drive(int port, int pin)
{
    char cmd[64];

    snprintf(cmd, sizeof(cmd), "short_test drive_pin %d %d\r\n", port, pin);

    int ret = uart_bridge_send(cmd, strlen(cmd));
    if (ret < 0) {
        printk("[ERROR] Failed to send drive command to nRF9151: %d\n", ret);
        return ret;
    }

    return 0;
}
#endif

static void drive_pin_start(int port, int pin)
{
    cfg_pin_output(port, pin);
    set_pin_high(port, pin);
    k_busy_wait(100);
}

static void drive_pin_stop(int port, int pin)
{
    set_pin_low(port, pin);
    cfg_pin_input(port, pin);
}

static void read_and_print_local_while_driving(int port, int pin)
{
    uint32_t gpio0_states;
    char pin_str[64];
    int skip_p0 = (port == 0) ? pin : -1;
    int skip_p1 = (port == 1) ? pin : -1;
    int driven_p0 = (port == 0) ? pin : -1;
    int driven_p1 = (port == 1) ? pin : -1;

    gpio0_states = read_gpio_port_ex(0, GPIO0_PIN_COUNT, skip_p0);
    format_drive_states(gpio0_states, GPIO0_PIN_COUNT, BASELINE_P0, driven_p0, pin_str, sizeof(pin_str));
    if (active_shell) {
        shell_fprintf(active_shell, SHELL_NORMAL, "[DRIVE] %s P%d.%02d HIGH P0: %s\n", MCU_NAME, port, pin, pin_str);
    } else {
        printk("[DRIVE] %s P%d.%02d HIGH P0: %s\n", MCU_NAME, port, pin, pin_str);
    }

#if defined(MCU_IS_NRF5340)
    uint32_t gpio1_states;
    gpio1_states = read_gpio_port_ex(1, GPIO1_PIN_COUNT, skip_p1);
    format_drive_states(gpio1_states, GPIO1_PIN_COUNT, BASELINE_P1, driven_p1, pin_str, sizeof(pin_str));
    if (active_shell) {
        shell_fprintf(active_shell, SHELL_NORMAL, "[DRIVE] %s P%d.%02d HIGH P1: %s\n", MCU_NAME, port, pin, pin_str);
    } else {
        printk("[DRIVE] %s P%d.%02d HIGH P1: %s\n", MCU_NAME, port, pin, pin_str);
    }
#endif
}

static void drive_single_pin_test(int port, int pin)
{
    drive_pin_start(port, pin);
    read_and_print_local_while_driving(port, pin);
    drive_pin_stop(port, pin);
}

int short_test_drive_pin(int port, int pin)
{
    int max_pins = (port == 0) ? GPIO0_PIN_COUNT : GPIO1_PIN_COUNT;

    if (port < 0 || port > 1) {
        printk("[ERROR] Invalid port: %d\n", port);
        return -EINVAL;
    }

#if !defined(MCU_IS_NRF5340)
    if (port == 1) {
        printk("[ERROR] GPIO1 not available on %s\n", MCU_NAME);
        return -EINVAL;
    }
#endif

    if (pin < 0 || pin >= max_pins) {
        printk("[ERROR] Invalid pin: %d (max %d for port %d)\n", pin, max_pins - 1, port);
        return -EINVAL;
    }

    char ctx[32];
    snprintf(ctx, sizeof(ctx), "%s_P%d.%02d", MCU_NAME, port, pin);

    drive_pin_start(port, pin);
    read_and_print_local_while_driving(port, pin);

#if defined(MCU_IS_NRF5340)
    short_test_request_remote_pins(ctx);
#endif

    drive_pin_stop(port, pin);

    return 0;
}

int short_test_drive_all_local(void)
{
    for (int pin = 0; pin < GPIO0_PIN_COUNT; pin++) {
        drive_single_pin_test(0, pin);
    }

#if defined(MCU_IS_NRF5340)
    for (int pin = 0; pin < GPIO1_PIN_COUNT; pin++) {
        drive_single_pin_test(1, pin);
    }
#endif

    return 0;
}

#if defined(MCU_IS_NRF5340)
int short_test_drive_all_with_remote(void)
{
    char ctx[32];

    for (int pin = 0; pin < GPIO0_PIN_COUNT; pin++) {
        snprintf(ctx, sizeof(ctx), "%s_P0.%02d", MCU_NAME, pin);
        drive_pin_start(0, pin);
        read_and_print_local_while_driving(0, pin);
        short_test_request_remote_pins(ctx);
        k_busy_wait(50000);
        drive_pin_stop(0, pin);
    }

    for (int pin = 0; pin < GPIO1_PIN_COUNT; pin++) {
        snprintf(ctx, sizeof(ctx), "%s_P1.%02d", MCU_NAME, pin);
        drive_pin_start(1, pin);
        read_and_print_local_while_driving(1, pin);
        short_test_request_remote_pins(ctx);
        k_busy_wait(50000);
        drive_pin_stop(1, pin);
    }

    uart_bridge_send("short_test drive_all\r\n", 22);

    return 0;
}
#endif

static int cmd_read_pins(const struct shell *sh, size_t argc, char **argv)
{
    ARG_UNUSED(sh);
    const char *context = (argc >= 2) ? argv[1] : "shell";
    short_test_read_pins(context);
    return 0;
}

static int cmd_drive_pin(const struct shell *sh, size_t argc, char **argv)
{
    if (argc != 3) {
        shell_print(sh, "Usage: short_test drive_pin <port> <pin>");
        return -EINVAL;
    }
    int port = atoi(argv[1]);
    int pin = atoi(argv[2]);
    short_test_drive_pin(port, pin);
    return 0;
}

static int cmd_drive_all(const struct shell *sh, size_t argc, char **argv)
{
    ARG_UNUSED(argc);
    ARG_UNUSED(argv);
    active_shell = sh;
    short_test_drive_all_local();
    active_shell = NULL;
    return 0;
}

static int cmd_set_pin(const struct shell *sh, size_t argc, char **argv)
{
    if (argc != 4) {
        shell_print(sh, "Usage: short_test set <port> <pin> <0|1>");
        return -EINVAL;
    }
    int port = atoi(argv[1]);
    int pin = atoi(argv[2]);
    int state = atoi(argv[3]);

    int max_pins = (port == 0) ? GPIO0_PIN_COUNT : GPIO1_PIN_COUNT;
    if (port < 0 || port > 1 || pin < 0 || pin >= max_pins) {
        shell_print(sh, "Invalid port/pin");
        return -EINVAL;
    }

    cfg_pin_output(port, pin);
    if (state) {
        set_pin_high(port, pin);
        shell_print(sh, "P%d.%02d -> HIGH", port, pin);
    } else {
        set_pin_low(port, pin);
        shell_print(sh, "P%d.%02d -> LOW", port, pin);
    }
    return 0;
}

static int cmd_release_pin(const struct shell *sh, size_t argc, char **argv)
{
    if (argc != 3) {
        shell_print(sh, "Usage: short_test release <port> <pin>");
        return -EINVAL;
    }
    int port = atoi(argv[1]);
    int pin = atoi(argv[2]);

    int max_pins = (port == 0) ? GPIO0_PIN_COUNT : GPIO1_PIN_COUNT;
    if (port < 0 || port > 1 || pin < 0 || pin >= max_pins) {
        shell_print(sh, "Invalid port/pin");
        return -EINVAL;
    }

    cfg_pin_input(port, pin);
    shell_print(sh, "P%d.%02d -> INPUT", port, pin);
    return 0;
}

#if defined(MCU_IS_NRF5340)
static int cmd_read_remote(const struct shell *sh, size_t argc, char **argv)
{
    ARG_UNUSED(argc);
    ARG_UNUSED(argv);
    short_test_request_remote_pins("shell");
    return 0;
}

static int cmd_read_all(const struct shell *sh, size_t argc, char **argv)
{
    ARG_UNUSED(argc);
    ARG_UNUSED(argv);
    short_test_read_all_pins();
    return 0;
}

static int cmd_drive_all_full(const struct shell *sh, size_t argc, char **argv)
{
    ARG_UNUSED(argc);
    ARG_UNUSED(argv);
    active_shell = sh;
    short_test_drive_all_with_remote();
    active_shell = NULL;
    return 0;
}
#endif

SHELL_STATIC_SUBCMD_SET_CREATE(sub_short_test,
    SHELL_CMD(read_pins, NULL, "Read GPIO pins on this MCU", cmd_read_pins),
    SHELL_CMD(drive_pin, NULL, "Drive single pin high and read all: <port> <pin>", cmd_drive_pin),
    SHELL_CMD(drive_all, NULL, "Drive each local pin and read", cmd_drive_all),
    SHELL_CMD(set, NULL, "Set pin state: <port> <pin> <0|1>", cmd_set_pin),
    SHELL_CMD(release, NULL, "Release pin to input: <port> <pin>", cmd_release_pin),
#if defined(MCU_IS_NRF5340)
    SHELL_CMD(read_remote, NULL, "Request GPIO pin read from nRF9151", cmd_read_remote),
    SHELL_CMD(read_all, NULL, "Read GPIO pins on both MCUs", cmd_read_all),
    SHELL_CMD(drive_all_full, NULL, "Drive test on both MCUs with cross-read", cmd_drive_all_full),
#endif
    SHELL_SUBCMD_SET_END
);

SHELL_CMD_REGISTER(short_test, &sub_short_test, "Short test commands", NULL);
```

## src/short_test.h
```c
#ifndef SHORT_TEST_H
#define SHORT_TEST_H

#include <stdint.h>

int short_test_read_pins(const char *context);
int short_test_drive_pin(int port, int pin);
int short_test_drive_all_local(void);

#if defined(CONFIG_SOC_NRF5340_CPUAPP)
int short_test_request_remote_pins(const char *context);
int short_test_read_all_pins(void);
int short_test_request_remote_drive(int port, int pin);
int short_test_drive_all_with_remote(void);
#endif

#endif
```

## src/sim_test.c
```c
#include <zephyr/kernel.h>
#include <zephyr/drivers/gpio.h>
#include <zephyr/logging/log.h>
#include <zephyr/shell/shell.h>

#include "sim_test.h"

LOG_MODULE_REGISTER(sim_test, LOG_LEVEL_INF);

#define SIM_DETECT_PIN 24
#define SIM_SELECT_PIN 25

static const struct device *gpio_dev;
static struct gpio_callback sim_detect_cb_data;

bool sim_test_passed = false;


static void sim_detect_callback(const struct device *dev, struct gpio_callback *cb, uint32_t pins)
{
	int val = gpio_pin_get(gpio_dev, SIM_DETECT_PIN);

	if (val < 0) {
		LOG_ERR("Failed to read SIM detect pin: %d", val);
		return;
	}

	if (val) {
		LOG_INF("SIM card in = HIGH");
	} else {
		LOG_INF("SIM card out = LOW");
	}
}


static void sim_test_read(void)
{
	int val = gpio_pin_get(gpio_dev, SIM_DETECT_PIN);

	if (val < 0) {
		LOG_ERR("Failed to read SIM detect pin: %d", val);
		return;
	}

	if (val) {
		LOG_INF("SIM detect pin P0.24: HIGH (SIM card inserted)");
	} else {
		LOG_INF("SIM detect pin P0.24: LOW (SIM card removed)");
	}
}


static int cmd_sim_read(const struct shell *sh, size_t argc, char **argv)
{
	ARG_UNUSED(argc);
	ARG_UNUSED(argv);

	int val = gpio_pin_get(gpio_dev, SIM_DETECT_PIN);

	if (val < 0) {
		shell_error(sh, "Failed to read SIM detect pin: %d", val);
		return -EIO;
	}

	if (val) {
		shell_print(sh, "SIM detect pin P0.24: HIGH (SIM card inserted)");
	} else {
		shell_print(sh, "SIM detect pin P0.24: LOW (SIM card removed)");
	}

	return 0;
}


static int cmd_sim_select(const struct shell *sh, size_t argc, char **argv)
{
	if (argc != 2) {
		shell_error(sh, "Usage: SIM_SELECT <0|1>");
		return -EINVAL;
	}

	int sim_num = atoi(argv[1]);

	if (sim_num != 0 && sim_num != 1) {
		shell_error(sh, "Invalid SIM number. Must be 0 or 1");
		return -EINVAL;
	}

	shell_print(sh, "Selecting SIM %d", sim_num);

	int ret = gpio_pin_set(gpio_dev, SIM_SELECT_PIN, sim_num);
	if (ret < 0) {
		shell_error(sh, "Failed to set SIM select pin: %d", ret);
		LOG_ERR("Failed to set SIM select pin P0.25: %d", ret);
		return -EIO;
	}

	LOG_INF("SIM %d selected - P0.25 set to %s", sim_num, sim_num ? "HIGH" : "LOW");

	return 0;
}


void sim_test_case(void)
{
	int sim_select_val;
	int sim_detect_val;

	sim_test_passed = false;

	LOG_INF("=== Starting SIM Test Case ===");
	LOG_INF("Test assumes: SIM_SELECT = 1 (HIGH), SIM card plugged into device");


	sim_select_val = gpio_pin_get(gpio_dev, SIM_SELECT_PIN);
	if (sim_select_val < 0) {
		LOG_ERR("Failed to read SIM select pin: %d", sim_select_val);
		LOG_ERR("Test FAILED - Cannot read SIM select pin");
		return;
	}

	if (sim_select_val != 1) {
		LOG_WRN("SIM_SELECT is not HIGH, setting to 1...");
		int ret = gpio_pin_set(gpio_dev, SIM_SELECT_PIN, 1);
		if (ret < 0) {
			LOG_ERR("Failed to set SIM select pin: %d", ret);
			LOG_ERR("Test FAILED - Cannot set SIM select pin");
			return;
		}
		LOG_INF("SIM_SELECT set to HIGH");
	} else {
		LOG_INF("SIM_SELECT confirmed: HIGH");
	}


	sim_detect_val = gpio_pin_get(gpio_dev, SIM_DETECT_PIN);
	if (sim_detect_val < 0) {
		LOG_ERR("Failed to read SIM detect pin: %d", sim_detect_val);
		LOG_ERR("Test FAILED - Cannot read SIM detect pin");
		return;
	}

	LOG_INF("SIM detect pin P0.24: %s", sim_detect_val ? "HIGH" : "LOW");


	if (sim_detect_val == 1) {
		LOG_INF("Test PASSED - SIM card detected (HIGH)");
		sim_test_passed = true;
	} else {
		LOG_ERR("Test FAILED - SIM card not detected (LOW)");
		LOG_ERR("Please ensure SIM card is properly inserted into the device");
		sim_test_passed = false;
	}

	LOG_INF("=== SIM Test Case Complete: %s ===", sim_test_passed ? "PASSED" : "FAILED");
}


static int cmd_sim_test_case(const struct shell *sh, size_t argc, char **argv)
{
	ARG_UNUSED(argc);
	ARG_UNUSED(argv);

	shell_print(sh, "Running SIM test case...");
	sim_test_case();

	if (sim_test_passed) {
		shell_print(sh, "Result: PASSED");
	} else {
		shell_print(sh, "Result: FAILED");
	}

	return 0;
}


static int sim_test_init(void)
{
	int ret;

	gpio_dev = DEVICE_DT_GET(DT_NODELABEL(gpio0));
	if (!device_is_ready(gpio_dev)) {
		LOG_ERR("GPIO device not ready");
		return -ENODEV;
	}

	ret = gpio_pin_configure(gpio_dev, SIM_SELECT_PIN, GPIO_OUTPUT_ACTIVE);
	if (ret < 0) {
		LOG_ERR("Failed to configure SIM select pin: %d", ret);
		return ret;
	}
	LOG_INF("SIM select pin P0.25 initialized to HIGH (SIM 1 default)");


	ret = gpio_pin_configure(gpio_dev, SIM_DETECT_PIN, GPIO_INPUT);
	if (ret < 0) {
		LOG_ERR("Failed to configure SIM detect pin: %d", ret);
		return ret;
	}


	ret = gpio_pin_interrupt_configure(gpio_dev, SIM_DETECT_PIN, GPIO_INT_EDGE_BOTH);
	if (ret < 0) {
		LOG_ERR("Failed to configure SIM detect interrupt: %d", ret);
		return ret;
	}


	gpio_init_callback(&sim_detect_cb_data, sim_detect_callback, BIT(SIM_DETECT_PIN));
	ret = gpio_add_callback(gpio_dev, &sim_detect_cb_data);
	if (ret < 0) {
		LOG_ERR("Failed to add SIM detect callback: %d", ret);
		return ret;
	}

	LOG_INF("SIM test module initialized - P0.24 (detect input), P0.25 (select output)");

	sim_test_read();

	return 0;
}

SYS_INIT(sim_test_init, APPLICATION, CONFIG_APPLICATION_INIT_PRIORITY);


SHELL_CMD_REGISTER(sim_read, NULL, "Read SIM card detect state", cmd_sim_read);
SHELL_CMD_REGISTER(sim_select, NULL, "Select SIM card (0 or 1)", cmd_sim_select);
SHELL_CMD_REGISTER(sim_test_case, NULL, "Run SIM test case (assumes SIM 1 and card inserted)", cmd_sim_test_case);
```

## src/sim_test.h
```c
#ifndef SIM_TEST_H
#define SIM_TEST_H

#include <stdbool.h>

extern bool sim_test_passed;

void sim_test_case(void);

#endif
```
